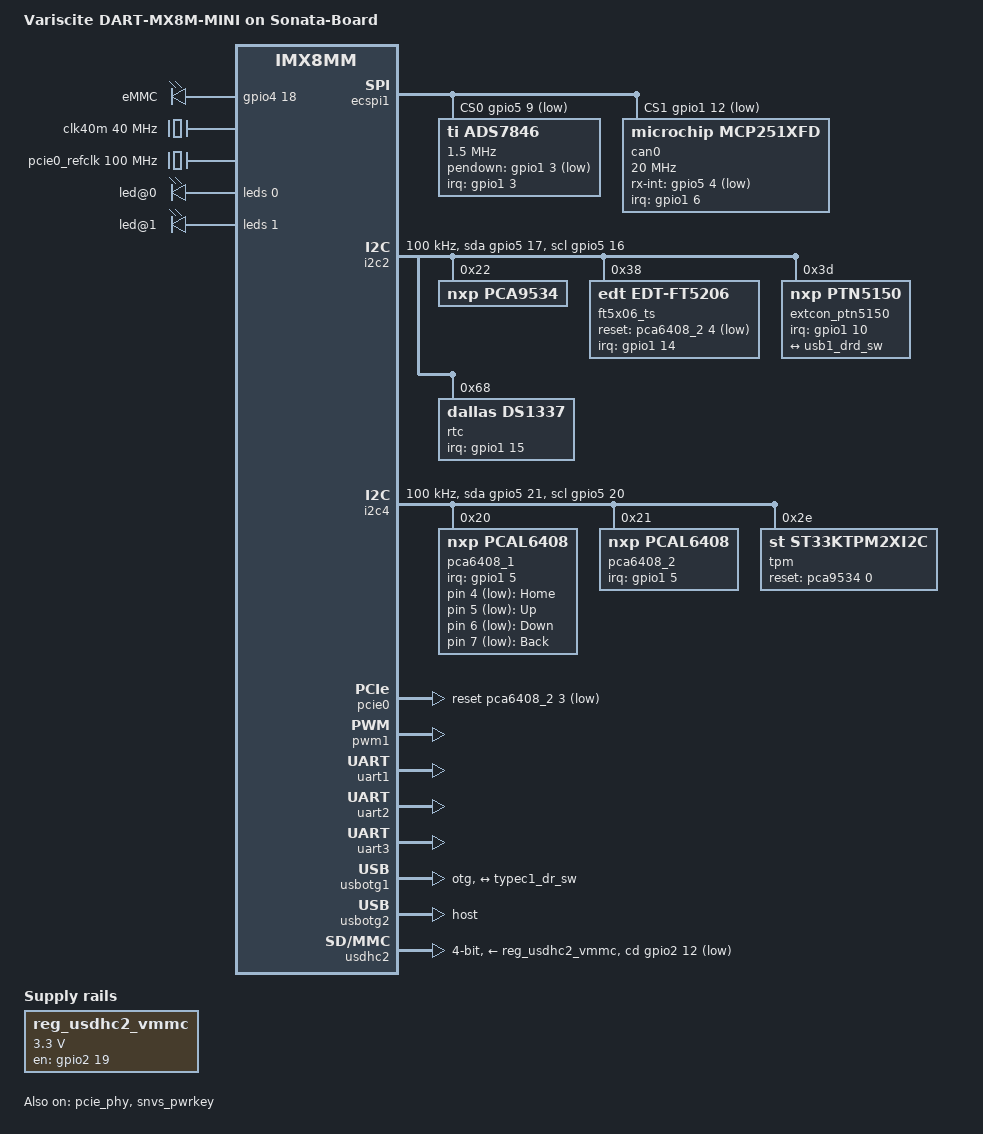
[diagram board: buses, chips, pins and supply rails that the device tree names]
// SPDX-License-Identifier: (GPL-2.0+ OR MIT)
/*
 * Variscite Sonata carrier board for DART-MX8M-MINI
 *
 * Link: https://variscite.com/carrier-boards/sonata-board/
 *
 * Copyright (C) 2026 Variscite Ltd. - https://www.variscite.com/
 *
 */

/dts-v1/;

#include <dt-bindings/leds/common.h>
#include <dt-bindings/phy/phy-imx8-pcie.h>
#include "imx8mm-var-dart.dtsi"

/ {
	model = "Variscite DART-MX8M-MINI on Sonata-Board";
	compatible = "variscite,var-dart-mx8mm-sonata",
		     "variscite,var-dart-mx8mm",
		     "fsl,imx8mm";

	chosen {
		stdout-path = &uart1;
	};

	gpio-keys {
		compatible = "gpio-keys";

		button-home {
			label = "Home";
			linux,code = <KEY_HOME>;
			gpios = <&pca6408_1 4 GPIO_ACTIVE_LOW>;
			wakeup-source;
		};

		button-up {
			label = "Up";
			linux,code = <KEY_UP>;
			gpios = <&pca6408_1 5 GPIO_ACTIVE_LOW>;
			wakeup-source;
		};

		button-down {
			label = "Down";
			linux,code = <KEY_DOWN>;
			gpios = <&pca6408_1 6 GPIO_ACTIVE_LOW>;
			wakeup-source;
		};

		button-back {
			label = "Back";
			linux,code = <KEY_BACK>;
			gpios = <&pca6408_1 7 GPIO_ACTIVE_LOW>;
			wakeup-source;
		};
	};

	gpio-leds {
		compatible = "gpio-leds";
		pinctrl-names = "default";
		pinctrl-0 = <&pinctrl_gpio_leds>;

		led-emmc {
			gpios = <&gpio4 18 GPIO_ACTIVE_HIGH>;
			label = "eMMC";
			linux,default-trigger = "mmc2";
		};
	};

	clk40m: oscillator {
		compatible = "fixed-clock";
		#clock-cells = <0>;
		clock-frequency = <40000000>;
		clock-output-names = "can_osc";
	};

	pcie0_refclk: pcie0-refclk {
		compatible = "fixed-clock";
		#clock-cells = <0>;
		clock-frequency = <100000000>;
	};

	reg_usdhc2_vmmc: regulator-vmmc-usdhc2 {
		compatible = "regulator-fixed";
		pinctrl-names = "default";
		pinctrl-0 = <&pinctrl_vmmc_usdhc2>;
		regulator-name = "VSD_3V3";
		regulator-min-microvolt = <3300000>;
		regulator-max-microvolt = <3300000>;
		gpio = <&gpio2 19 GPIO_ACTIVE_HIGH>;
		enable-active-high;
		startup-delay-us = <100>;
		off-on-delay-us = <12000>;
	};
};

&ecspi1 {
	pinctrl-names = "default";
	pinctrl-0 = <&pinctrl_ecspi1>;
	cs-gpios = <&gpio5  9 GPIO_ACTIVE_LOW>,
		   <&gpio1 12 GPIO_ACTIVE_LOW>;
	status = "okay";

	/* Resistive touch controller */
	ads7846: touchscreen@0 {
		compatible = "ti,ads7846";
		reg = <0>;
		pinctrl-names = "default";
		pinctrl-0 = <&pinctrl_restouch>;
		interrupt-parent = <&gpio1>;
		interrupts = <3 IRQ_TYPE_EDGE_FALLING>;
		spi-max-frequency = <1500000>;
		pendown-gpio = <&gpio1 3 GPIO_ACTIVE_LOW>;
		ti,x-min = /bits/ 16 <125>;
		ti,x-max = /bits/ 16 <4008>;
		ti,y-min = /bits/ 16 <282>;
		ti,y-max = /bits/ 16 <3864>;
		ti,x-plate-ohms = /bits/ 16 <180>;
		ti,pressure-max = /bits/ 16 <255>;
		ti,debounce-max = /bits/ 16 <10>;
		ti,debounce-tol = /bits/ 16 <3>;
		ti,debounce-rep = /bits/ 16 <1>;
		ti,settle-delay-usec = /bits/ 16 <150>;
		ti,keep-vref-on;
		wakeup-source;
	};

	can0: can@1 {
		compatible = "microchip,mcp251xfd";
		reg = <1>;
		pinctrl-names = "default";
		pinctrl-0 = <&pinctrl_can>;
		clocks = <&clk40m>;
		interrupt-parent = <&gpio1>;
		interrupts = <6 IRQ_TYPE_LEVEL_LOW>;
		microchip,rx-int-gpios = <&gpio5 4 GPIO_ACTIVE_LOW>;
		spi-max-frequency = <20000000>;
	};
};

&ethphy0 {
	leds {
		#address-cells = <1>;
		#size-cells = <0>;

		led@0 {
			reg = <0>;
			color = <LED_COLOR_ID_YELLOW>;
			function = LED_FUNCTION_LAN;
			linux,default-trigger = "netdev";
		};

		led@1 {
			reg = <1>;
			color = <LED_COLOR_ID_GREEN>;
			function = LED_FUNCTION_LAN;
			linux,default-trigger = "netdev";
		};
	};
};

&i2c2 {
	clock-frequency = <100000>;
	pinctrl-names = "default", "gpio";
	pinctrl-0 = <&pinctrl_i2c2>;
	pinctrl-1 = <&pinctrl_i2c2_gpio>;
	scl-gpios = <&gpio5 16 (GPIO_ACTIVE_HIGH | GPIO_OPEN_DRAIN)>;
	sda-gpios = <&gpio5 17 (GPIO_ACTIVE_HIGH | GPIO_OPEN_DRAIN)>;
	status = "okay";

	pca9534: gpio@22 {
		compatible = "nxp,pca9534";
		reg = <0x22>;
		gpio-controller;
		#gpio-cells = <2>;

		/* RGB_SEL */
		lvds-brg-enable-hog {
			gpio-hog;
			gpios = <7 GPIO_ACTIVE_HIGH>;
			output-low;
			line-name = "rgb_sel";
		};
	};

	/* Capacitive touch controller */
	ft5x06_ts: touchscreen@38 {
		compatible = "edt,edt-ft5206";
		reg = <0x38>;
		pinctrl-names = "default";
		pinctrl-0 = <&pinctrl_captouch>;
		reset-gpios = <&pca6408_2 4 GPIO_ACTIVE_LOW>;
		interrupt-parent = <&gpio1>;
		interrupts = <14 IRQ_TYPE_EDGE_FALLING>;
		touchscreen-size-x = <800>;
		touchscreen-size-y = <480>;
		touchscreen-inverted-x;
		touchscreen-inverted-y;
		wakeup-source;
	};

	extcon_ptn5150: typec@3d {
		compatible = "nxp,ptn5150";
		reg = <0x3d>;
		pinctrl-names = "default";
		pinctrl-0 = <&pinctrl_extcon>;
		interrupt-parent = <&gpio1>;
		interrupts = <10 IRQ_TYPE_EDGE_FALLING>;

		port {
			typec1_dr_sw: endpoint {
				remote-endpoint = <&usb1_drd_sw>;
			};
		};
	};

	rtc@68 {
		compatible = "dallas,ds1337";
		reg = <0x68>;
		pinctrl-names = "default";
		pinctrl-0 = <&pinctrl_rtc>;
		interrupt-parent = <&gpio1>;
		interrupts = <15 IRQ_TYPE_EDGE_FALLING>;
		wakeup-source;
	};
};

&i2c4 {
	clock-frequency = <100000>;
	pinctrl-names = "default", "gpio";
	pinctrl-0 = <&pinctrl_i2c4>;
	pinctrl-1 = <&pinctrl_i2c4_gpio>;
	scl-gpios = <&gpio5 20 (GPIO_ACTIVE_HIGH | GPIO_OPEN_DRAIN)>;
	sda-gpios = <&gpio5 21 (GPIO_ACTIVE_HIGH | GPIO_OPEN_DRAIN)>;
	status = "okay";

	pca6408_1: gpio@20 {
		compatible = "nxp,pcal6408";
		reg = <0x20>;
		gpio-controller;
		#gpio-cells = <2>;
		pinctrl-names = "default";
		pinctrl-0 = <&pinctrl_pca6408>;
		interrupt-parent = <&gpio1>;
		interrupts = <5 IRQ_TYPE_LEVEL_LOW>;
	};

	pca6408_2: gpio@21 {
		compatible = "nxp,pcal6408";
		reg = <0x21>;
		gpio-controller;
		#gpio-cells = <2>;
		interrupt-parent = <&gpio1>;
		interrupts = <5 IRQ_TYPE_LEVEL_LOW>;
	};

	st33ktpm2xi2c: tpm@2e {
		compatible = "st,st33ktpm2xi2c", "tcg,tpm-tis-i2c";
		reg = <0x2e>;
		label = "tpm";
		reset-gpios = <&pca9534 0 GPIO_ACTIVE_HIGH>;
	};
};

&pcie_phy {
	fsl,refclk-pad-mode = <IMX8_PCIE_REFCLK_PAD_INPUT>;
	fsl,tx-deemph-gen1 = <0x2d>;
	fsl,tx-deemph-gen2 = <0xf>;
	clocks = <&pcie0_refclk>;
	status = "okay";
};

&pcie0 {
	reset-gpios = <&pca6408_2 3 GPIO_ACTIVE_LOW>;
	clocks = <&clk IMX8MM_CLK_PCIE1_ROOT>, <&pcie0_refclk>,
		 <&clk IMX8MM_CLK_PCIE1_AUX>;
	assigned-clocks = <&clk IMX8MM_CLK_PCIE1_AUX>,
			  <&clk IMX8MM_CLK_PCIE1_CTRL>;
	assigned-clock-rates = <10000000>, <250000000>;
	assigned-clock-parents = <&clk IMX8MM_SYS_PLL2_50M>,
				 <&clk IMX8MM_SYS_PLL2_250M>;
	status = "okay";
};

&pwm1 {
	pinctrl-names = "default";
	pinctrl-0 = <&pinctrl_pwm>;
	status = "okay";
};

&snvs_pwrkey {
	status = "okay";
};

&snvs_rtc {
	status = "disabled";
};

/* Console */
&uart1 {
	pinctrl-names = "default";
	pinctrl-0 = <&pinctrl_uart1>;
	wakeup-source;
	status = "okay";
};

/* Header */
&uart2 {
	pinctrl-names = "default";
	pinctrl-0 = <&pinctrl_uart2>;
	status = "okay";
};

/* Header */
&uart3 {
	pinctrl-names = "default";
	pinctrl-0 = <&pinctrl_uart3>;
	status = "okay";
};

&usbotg1 {
	dr_mode = "otg";
	hnp-disable;
	srp-disable;
	adp-disable;
	usb-role-switch;
	disable-over-current;
	samsung,picophy-pre-emp-curr-control = <3>;
	samsung,picophy-dc-vol-level-adjust = <7>;
	status = "okay";

	port {
		usb1_drd_sw: endpoint {
			remote-endpoint = <&typec1_dr_sw>;
		};
	};
};

&usbotg2 {
	dr_mode = "host";
	samsung,picophy-pre-emp-curr-control = <3>;
	samsung,picophy-dc-vol-level-adjust = <7>;
	disable-over-current;
	status = "okay";
};

/* SD */
&usdhc2 {
	pinctrl-names = "default", "state_100mhz", "state_200mhz";
	pinctrl-0 = <&pinctrl_usdhc2>, <&pinctrl_usdhc2_gpio>;
	pinctrl-1 = <&pinctrl_usdhc2_100mhz>, <&pinctrl_usdhc2_gpio>;
	pinctrl-2 = <&pinctrl_usdhc2_200mhz>, <&pinctrl_usdhc2_gpio>;
	cd-gpios = <&gpio2 12 GPIO_ACTIVE_LOW>;
	bus-width = <4>;
	vmmc-supply = <&reg_usdhc2_vmmc>;
	status = "okay";
};

&iomuxc {
	pinctrl_can: cangrp {
		fsl,pins = <
			MX8MM_IOMUXC_GPIO1_IO06_GPIO1_IO6		0x16
			MX8MM_IOMUXC_SPDIF_RX_GPIO5_IO4			0x16
		>;
	};

	pinctrl_captouch: captouchgrp {
		fsl,pins = <
			MX8MM_IOMUXC_GPIO1_IO14_GPIO1_IO14		0x16
		>;
	};

	pinctrl_ecspi1: ecspi1grp {
		fsl,pins = <
			MX8MM_IOMUXC_ECSPI1_SCLK_ECSPI1_SCLK		0x13
			MX8MM_IOMUXC_ECSPI1_MOSI_ECSPI1_MOSI		0x13
			MX8MM_IOMUXC_ECSPI1_MISO_ECSPI1_MISO		0x13
			MX8MM_IOMUXC_ECSPI1_SS0_GPIO5_IO9		0x13
			MX8MM_IOMUXC_GPIO1_IO12_GPIO1_IO12		0x13
		>;
	};

	pinctrl_extcon: extcongrp {
		fsl,pins = <
			MX8MM_IOMUXC_GPIO1_IO10_GPIO1_IO10		0x19
		>;
	};

	pinctrl_gpio_leds: ledgrp {
		fsl,pins = <
			MX8MM_IOMUXC_SAI1_TXD6_GPIO4_IO18		0x1c6
		>;
	};

	pinctrl_i2c2: i2c2grp {
		fsl,pins = <
			MX8MM_IOMUXC_I2C2_SCL_I2C2_SCL			0x400001c3
			MX8MM_IOMUXC_I2C2_SDA_I2C2_SDA			0x400001c3
		>;
	};

	pinctrl_i2c2_gpio: i2c2-gpiogrp {
		fsl,pins = <
			MX8MM_IOMUXC_I2C2_SCL_GPIO5_IO16		0x400001c3
			MX8MM_IOMUXC_I2C2_SDA_GPIO5_IO17		0x400001c3
		>;
	};

	pinctrl_i2c4: i2c4grp {
		fsl,pins = <
			MX8MM_IOMUXC_I2C4_SCL_I2C4_SCL			0x400001c3
			MX8MM_IOMUXC_I2C4_SDA_I2C4_SDA			0x400001c3
		>;
	};

	pinctrl_i2c4_gpio: i2c4-gpiogrp {
		fsl,pins = <
			MX8MM_IOMUXC_I2C4_SCL_GPIO5_IO20		0x400001c3
			MX8MM_IOMUXC_I2C4_SDA_GPIO5_IO21		0x400001c3
		>;
	};

	pinctrl_pca6408: pca6408grp {
		fsl,pins = <
			MX8MM_IOMUXC_GPIO1_IO05_GPIO1_IO5		0x1c6
		>;
	};

	pinctrl_pwm: pwmgrp {
		fsl,pins = <
			MX8MM_IOMUXC_GPIO1_IO01_PWM1_OUT		0x06
		>;
	};

	pinctrl_vmmc_usdhc2: regvmmc-usdhc2grp {
		fsl,pins = <
			MX8MM_IOMUXC_SD2_RESET_B_GPIO2_IO19		0xc1
		>;
	};

	pinctrl_restouch: restouchgrp {
		fsl,pins = <
			MX8MM_IOMUXC_GPIO1_IO03_GPIO1_IO3		0x1c0
		>;
	};

	pinctrl_rtc: rtcgrp {
		fsl,pins = <
			MX8MM_IOMUXC_GPIO1_IO15_GPIO1_IO15		0x1c1
		>;
	};

	pinctrl_uart1: uart1grp {
		fsl,pins = <
			MX8MM_IOMUXC_UART1_RXD_UART1_DCE_RX		0x140
			MX8MM_IOMUXC_UART1_TXD_UART1_DCE_TX		0x140
		>;
	};

	pinctrl_uart2: uart2grp {
		fsl,pins = <
			MX8MM_IOMUXC_UART2_RXD_UART2_DCE_RX		0x140
			MX8MM_IOMUXC_UART2_TXD_UART2_DCE_TX		0x140
		>;
	};

	pinctrl_uart3: uart3grp {
		fsl,pins = <
			MX8MM_IOMUXC_UART3_RXD_UART3_DCE_RX		0x140
			MX8MM_IOMUXC_UART3_TXD_UART3_DCE_TX		0x140
		>;
	};

	pinctrl_usdhc2: usdhc2grp {
		fsl,pins = <
			MX8MM_IOMUXC_SD2_CLK_USDHC2_CLK			0x190
			MX8MM_IOMUXC_SD2_CMD_USDHC2_CMD			0x1d0
			MX8MM_IOMUXC_SD2_DATA0_USDHC2_DATA0		0x1d0
			MX8MM_IOMUXC_SD2_DATA1_USDHC2_DATA1		0x1d0
			MX8MM_IOMUXC_SD2_DATA2_USDHC2_DATA2		0x1d0
			MX8MM_IOMUXC_SD2_DATA3_USDHC2_DATA3		0x1d0
			MX8MM_IOMUXC_GPIO1_IO04_USDHC2_VSELECT		0x1d0
		>;
	};

	pinctrl_usdhc2_100mhz: usdhc2-100mhzgrp {
		fsl,pins = <
			MX8MM_IOMUXC_SD2_CLK_USDHC2_CLK			0x194
			MX8MM_IOMUXC_SD2_CMD_USDHC2_CMD			0x1d4
			MX8MM_IOMUXC_SD2_DATA0_USDHC2_DATA0		0x1d4
			MX8MM_IOMUXC_SD2_DATA1_USDHC2_DATA1		0x1d4
			MX8MM_IOMUXC_SD2_DATA2_USDHC2_DATA2		0x1d4
			MX8MM_IOMUXC_SD2_DATA3_USDHC2_DATA3		0x1d4
			MX8MM_IOMUXC_GPIO1_IO04_USDHC2_VSELECT		0x1d0
		>;
	};

	pinctrl_usdhc2_200mhz: usdhc2-200mhzgrp {
		fsl,pins = <
			MX8MM_IOMUXC_SD2_CLK_USDHC2_CLK			0x196
			MX8MM_IOMUXC_SD2_CMD_USDHC2_CMD			0x1d6
			MX8MM_IOMUXC_SD2_DATA0_USDHC2_DATA0		0x1d6
			MX8MM_IOMUXC_SD2_DATA1_USDHC2_DATA1		0x1d6
			MX8MM_IOMUXC_SD2_DATA2_USDHC2_DATA2		0x1d6
			MX8MM_IOMUXC_SD2_DATA3_USDHC2_DATA3		0x1d6
			MX8MM_IOMUXC_GPIO1_IO04_USDHC2_VSELECT		0x1d0
		>;
	};

	pinctrl_usdhc2_gpio: usdhc2-gpiogrp {
		fsl,pins = <
			MX8MM_IOMUXC_SD2_CD_B_GPIO2_IO12		0xc1
		>;
	};
};
